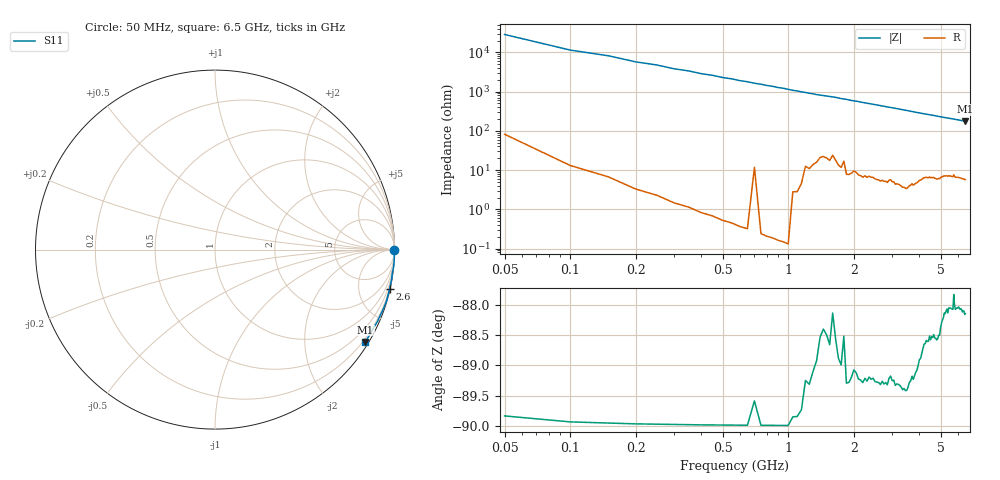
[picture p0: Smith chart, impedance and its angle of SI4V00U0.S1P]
! (c) 1999  Infineon Technologies AG, Munich
! Infineon Technologies  Discrete & RF Semiconductors
! BAT24-02LS
! Si Schottky Diode in TSSLP-2
! VR = 4 V
! S-Parameters:  July  2007
# GHz  S  MA  R  50
!  f  S11
! GHz  MAG  ANG
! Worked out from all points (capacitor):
!   130 points, 50 MHz to 6.5 GHz, reference 50 ohm
!   read as one part to ground: C = 130 fF near 50 MHz
!   lowest |Z| = 177 ohm at 6.5 GHz (marker M1)
!   S11 on the Smith chart (normalised r, x): 50 MHz: open; 2.6 GHz: 0.11, -8.98; 6.5 GHz: 0.11, -3.53
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0.05  1 -0.2
0.9  1 -4.5
1.35  0.9978 -6.8
1.65  0.9965 -8.0
1.7  0.9972 -8.3
1.8  0.996 -8.8
1.85  0.9981 -9.0
1.95  0.9977 -9.6
2.1  0.9976 -10.2
2.2  0.9977 -10.8
2.5  0.9973 -12.2
2.6  0.9972 -12.7
2.65  0.9973 -13.0
2.75  0.9972 -13.4
2.85  0.9971 -14.0
3.2  0.9968 -15.6
3.3  0.9969 -16.2
3.75  0.9957 -18.5
4.1  0.9928 -20.3
4.6  0.9902 -22.6
4.9  0.9894 -24.1
5.1  0.9871 -25.2
5.3  0.9856 -26.0
5.7  0.9843 -27.9
5.75  0.9823 -28.1
5.8  0.9836 -28.4
5.95  0.9836 -29.1
6.5  0.9831 -31.6
